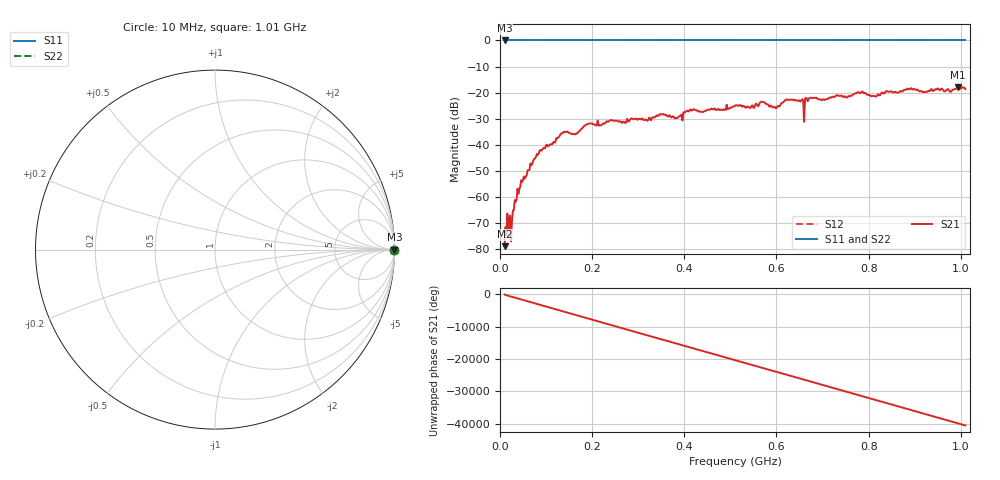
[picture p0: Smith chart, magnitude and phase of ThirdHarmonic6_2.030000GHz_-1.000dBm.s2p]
! 8/17/2025 12:21:39 AM
! C:\ANRITSUVNA\TEMP\TEMP.S2P
! CHANNEL.1
! TR.MEASUREMENT
! RAW.DATA
! RF.CORRECTION.OFF
! AVERAGING.OFF
! IF.BANDWIDTH: 5KHZ
! SWEEPTYPE:  FREQ.SWEEP(Linear)
! Reference Plane Port Info
! PORT:  PORT1  PORT2
! DISTANCE:  0  m  0  m
! TIME:  0  s  0  s
! PHASE.OFFSET:  0  deg.  0  deg.
! LOSS:  0  dB  0  dB
! REF.LOSS:  0  dB  0  dB
! REF.FREQ:  0  Hz  0  Hz
! Power Info
! POWER:  -20  dBm  -20  dBm
! EFF.POWER:  -20  dBm  -20  dBm
! SOURCE.ATTEN:  0  dB  0  dB
! TEST.ATTEN:  0  dB  0  dB
# GHZ S RI R 50.0
! FREQ.GHZ  S11RE  S11IM  S21RE  S21IM  S12RE  S12IM  S22RE  S22IM
!; PortSelection: Port_12
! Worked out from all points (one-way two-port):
!   501 points, 10 MHz to 1.01 GHz, reference 50 ohm
!   highest |S21| = -17.88 dB at 994 MHz (marker M1); lowest = -78.9 dB at 10 MHz (marker M2)
!   lowest |S11| = 0.0 dB at 10 MHz (marker M3)
!   |S11| at or under -10 dB: nowhere
!   |S22| runs from 0.0 to 0.0 dB; largest |S21 - S12| = 1.1
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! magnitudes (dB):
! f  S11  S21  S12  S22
! 10 MHz  0.0  -78.9  0.0  0.0
! 16 MHz  0.0  -66.4  0.0  0.0
! 22 MHz  0.0  -67.2  0.0  0.0
! 28 MHz  0.0  -65.2  0.0  0.0
! 34 MHz  0.0  -61.9  0.0  0.0
! 42 MHz  0.0  -57.0  0.0  0.0
! 76 MHz  0.0  -45.3  0.0  0.0
! 136 MHz  0.0  -35.6  0.0  0.0
! 164 MHz  0.0  -36.0  0.0  0.0
! 178 MHz  0.0  -33.8  0.0  0.0
! 344 MHz  0.0  -28.9  0.0  0.0
! 382 MHz  0.0  -29.7  0.0  0.0
! 416 MHz  0.0  -26.9  0.0  0.0
! 510 MHz  0.0  -25.0  0.0  0.0
! 570 MHz  0.0  -23.5  0.0  0.0
! 596 MHz  0.0  -25.5  0.0  0.0
! 624 MHz  0.0  -22.8  0.0  0.0
! 656 MHz  0.0  -22.5  0.0  0.0
! 678 MHz  0.0  -22.1  0.0  0.0
! 844 MHz  0.0  -19.7  0.0  0.0
! 994 MHz  0.0  -17.9  0.0  0.0
! 1.01 GHz  0.0  -18.7  0.0  0.0
